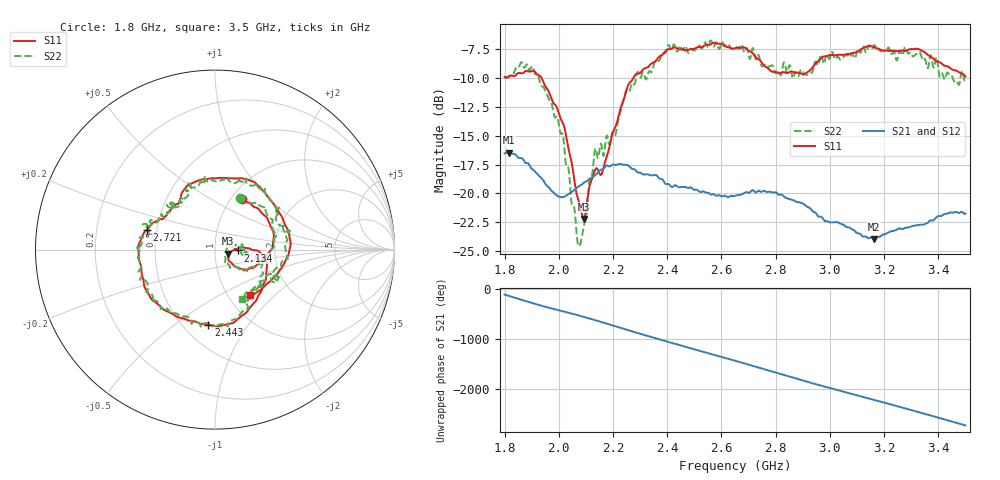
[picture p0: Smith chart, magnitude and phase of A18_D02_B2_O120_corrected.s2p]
! Created with skrf 1.9.0 (http://scikit-rf.org).
# Hz S RI R 50.0
!freq ReS11 ImS11 ReS21 ImS21 ReS12 ImS12 ReS22 ImS22
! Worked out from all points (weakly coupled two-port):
!   1601 points, 1.8 GHz to 3.5 GHz, reference 50 ohm
!   highest |S21| = -16.47 dB at 1.817 GHz (marker M1); lowest = -23.9 dB at 3.162 GHz (marker M2)
!   lowest |S11| = -22.2 dB at 2.092 GHz (marker M3), VSWR 1.17, Z = 57.9 - j2.69 ohm
!   |S11| at or under -10 dB: 1.936 GHz to 2.275 GHz (339.1 MHz wide, 16.1 % of centre)
!   |S22| runs from -24.6 to -6.8 dB; largest |S21 - S12| = 0.0025
!   S11 on the Smith chart (normalised r, x): 1.8 GHz: 1.12, +0.70; 2.134 GHz: 1.29, -0.01; 2.443 GHz: 0.66, -0.67; 2.721 GHz: 0.44, +0.11; 3.5 GHz: 1.26, -0.71
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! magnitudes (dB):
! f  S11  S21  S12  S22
! 1.8 GHz  -9.9  -16.5  -16.5  -10.0
! 1.817 GHz  -9.8  -16.5  -16.5  -9.9
! 1.902 GHz  -9.4  -17.9  -17.9  -9.0
! 1.967 GHz  -11.4  -19.6  -19.6  -12.0
! 2.02 GHz  -14.2  -20.3  -20.3  -15.9
! 2.07 GHz  -20.4  -19.4  -19.5  -24.3
! 2.084 GHz  -21.6  -19.2  -19.2  -23.9
! 2.092 GHz  -22.2  -19.1  -19.1  -22.8
! 2.134 GHz  -18.0  -18.4  -18.4  -16.2
! 2.161 GHz  -18.1  -17.9  -17.8  -16.4
! 2.209 GHz  -14.2  -17.5  -17.5  -14.9
! 2.259 GHz  -10.5  -17.6  -17.6  -11.2
! 2.367 GHz  -8.2  -18.6  -18.6  -8.5
! 2.443 GHz  -7.5  -19.5  -19.5  -7.3
! 2.65 GHz  -7.4  -20.2  -20.2  -7.3
! 2.721 GHz  -8.1  -19.8  -19.7  -7.9
! 2.808 GHz  -9.6  -20.1  -20.0  -9.4
! 2.934 GHz  -9.2  -21.5  -21.4  -9.6
! 3.162 GHz  -7.3  -23.9  -23.9  -7.2
! 3.217 GHz  -7.7  -23.4  -23.3  -7.4
! 3.327 GHz  -7.5  -22.7  -22.7  -7.8
! 3.5 GHz  -9.9  -21.7  -21.7  -10.1
